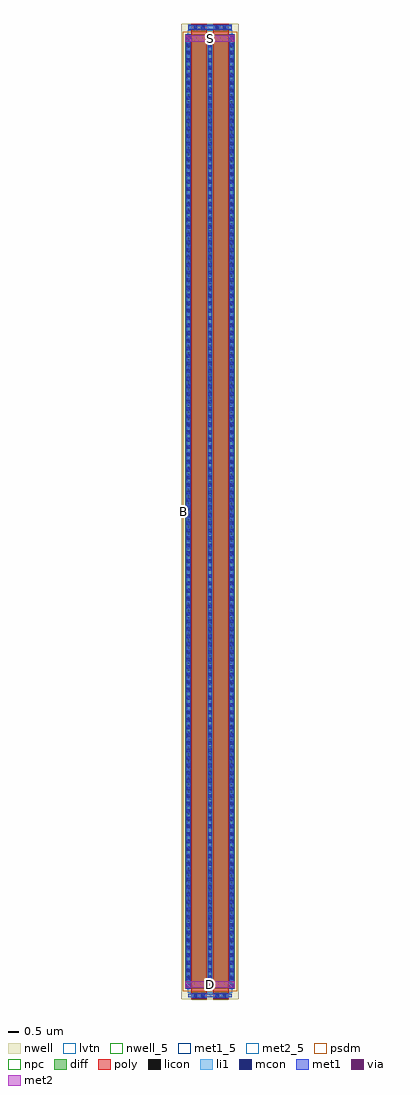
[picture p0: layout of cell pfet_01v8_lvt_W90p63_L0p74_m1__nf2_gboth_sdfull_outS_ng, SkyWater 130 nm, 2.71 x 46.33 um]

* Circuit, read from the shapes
.subckt pfet_01v8_lvt_W90p63_L0p74_m1__nf2_gboth_sdfull_outS_ng B D G S
XM1 D G S B sky130_fd_pr__pfet_01v8_lvt w=45.32 l=0.74 m=2
.ends

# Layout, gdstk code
import gdstk
lib = gdstk.Library(unit=1e-6, precision=1e-09)
def R(c, l, rs):  # rectangles x0, y0, x1, y1
    for r in rs: c.add(gdstk.rectangle(r[:2], r[2:], *l))
def A(c, l, x, y, w, h, nx, ny, dx, dy):  # array of equal rectangles
    R(c, l, [(x+i*dx, y+j*dy, x+i*dx+w, y+j*dy+h) for i in range(nx) for j in range(ny)])
nwell_5 = (64, 5)
nwell = (64, 20)
diff = (65, 20)
poly = (66, 20)
licon = (66, 44)
li1 = (67, 20)
mcon = (67, 44)
met1_5 = (68, 5)
met1 = (68, 20)
via = (68, 44)
met2_5 = (69, 5)
met2 = (69, 20)
psdm = (94, 20)
npc = (95, 20)
lvtn = (125, 44)

sky130_fd_pr__pfet_01v8_ = lib.new_cell('sky130_fd_pr__pfet_01v8_lvt_M4Q8B5')
R(sky130_fd_pr__pfet_01v8_, nwell, [(-1.355,-23.16,1.355,23.16)])
R(sky130_fd_pr__pfet_01v8_, diff, [(-1.175,-22.66,1.175,22.66)])
R(sky130_fd_pr__pfet_01v8_, poly, [(-0.885,-23.145,-0.145,23.145), (0.145,-23.145,0.885,23.145)])
A(sky130_fd_pr__pfet_01v8_, licon, -1.115, -22.525, 0.17, 0.17, 3, 133, 1.03, 0.34)
R(sky130_fd_pr__pfet_01v8_, licon, [(-0.77,-23.065,-0.6,-22.895), (-0.43,-23.065,-0.26,-22.895), (0.26,-23.065,0.43,-22.895), (0.6,-23.065,0.77,-22.895), (-0.77,22.895,-0.6,23.065), (-0.43,22.895,-0.26,23.065), (0.26,22.895,0.43,23.065), (0.6,22.895,0.77,23.065)])
A(sky130_fd_pr__pfet_01v8_, li1, -1.115, -22.68, 0.17, 45.36, 3, 1, 1.03, 0)
R(sky130_fd_pr__pfet_01v8_, li1, [(-1.03,-23.065,1.03,-22.895), (-1.03,22.895,1.03,23.065)])
A(sky130_fd_pr__pfet_01v8_, mcon, -1.115, -22.585, 0.17, 0.17, 3, 126, 1.03, 0.36)
R(sky130_fd_pr__pfet_01v8_, mcon, [(-0.78,-23.065,-0.61,-22.895), (-0.42,-23.065,-0.25,-22.895), (0.25,-23.065,0.42,-22.895), (0.61,-23.065,0.78,-22.895), (-0.78,22.895,-0.61,23.065), (-0.42,22.895,-0.25,23.065), (0.25,22.895,0.42,23.065), (0.61,22.895,0.78,23.065)])
A(sky130_fd_pr__pfet_01v8_, met1, -1.145, -22.66, 0.23, 45.32, 3, 1, 1.03, 0)
R(sky130_fd_pr__pfet_01v8_, met1, [(-0.865,-23.095,-0.165,-23.065), (0.165,-23.095,0.865,-23.065), (-1.03,-23.065,1.03,-22.895), (-0.865,-22.895,-0.165,-22.865), (0.165,-22.895,0.865,-22.865), (-0.865,22.865,-0.165,22.895), (0.165,22.865,0.865,22.895), (-1.03,22.895,1.03,23.065), (-0.865,23.065,-0.165,23.095), (0.165,23.065,0.865,23.095)])
R(sky130_fd_pr__pfet_01v8_, psdm, [(-1.3,-22.785,1.3,22.785)])
R(sky130_fd_pr__pfet_01v8_, npc, [(-0.87,-23.165,-0.16,-22.795), (0.16,-23.165,0.87,-22.795), (-0.87,22.795,-0.16,23.165), (0.16,22.795,0.87,23.165)])
R(sky130_fd_pr__pfet_01v8_, lvtn, [(-1.065,-22.84,1.065,22.84)])
sky130_fd_pr__pfet_01v8_.add(gdstk.Label('D0', (-1.03,0), layer=67, texttype=5))
sky130_fd_pr__pfet_01v8_.add(gdstk.Label('G', (0.515,22.98), layer=67, texttype=5))
sky130_fd_pr__pfet_01v8_.add(gdstk.Label('G', (-0.515,22.98), layer=67, texttype=5))
sky130_fd_pr__pfet_01v8_.add(gdstk.Label('S1', (0,0), layer=67, texttype=5))

pfet_01v8_lvt_w90p63_l0p = lib.new_cell('pfet_01v8_lvt_W90p63_L0p74_m1__nf2_gboth_sdfull_outS_ng')
R(pfet_01v8_lvt_w90p63_l0p, nwell_5, [(0.05,23.11,0.15,23.21)])
R(pfet_01v8_lvt_w90p63_l0p, nwell, [(0.05,23.11,0.15,23.21)])
R(pfet_01v8_lvt_w90p63_l0p, met1_5, [(0.325,46.025,2.385,46.255)])
R(pfet_01v8_lvt_w90p63_l0p, met1, [(1.225,0.55,1.485,0.87), (0.195,45.45,0.455,45.77), (2.255,45.45,2.515,45.77), (0.325,46.025,2.385,46.255)])
R(pfet_01v8_lvt_w90p63_l0p, via, [(1.28,0.635,1.43,0.785), (0.25,45.535,0.4,45.685), (2.31,45.535,2.46,45.685)])
R(pfet_01v8_lvt_w90p63_l0p, met2_5, [(0.19,0.55,2.52,0.87), (0.19,45.45,2.52,45.77)])
R(pfet_01v8_lvt_w90p63_l0p, met2, [(0.19,0.55,2.52,0.87), (0.19,45.45,2.52,45.77)])
pfet_01v8_lvt_w90p63_l0p.add(gdstk.Reference(sky130_fd_pr__pfet_01v8_, (1.355,23.16)))
pfet_01v8_lvt_w90p63_l0p.add(gdstk.Label('S', (1.355,45.61), layer=69, texttype=5))
pfet_01v8_lvt_w90p63_l0p.add(gdstk.Label('D', (1.355,0.71), layer=69, texttype=5))
pfet_01v8_lvt_w90p63_l0p.add(gdstk.Label('G', (1.355,46.14), layer=68, texttype=5))
pfet_01v8_lvt_w90p63_l0p.add(gdstk.Label('B', (0.1,23.16), layer=64, texttype=5))

lib.write_gds('pfet_01v8_lvt_W90p63_L0p74_m1__nf2_gboth_sdfull_outS_ng.gds')
